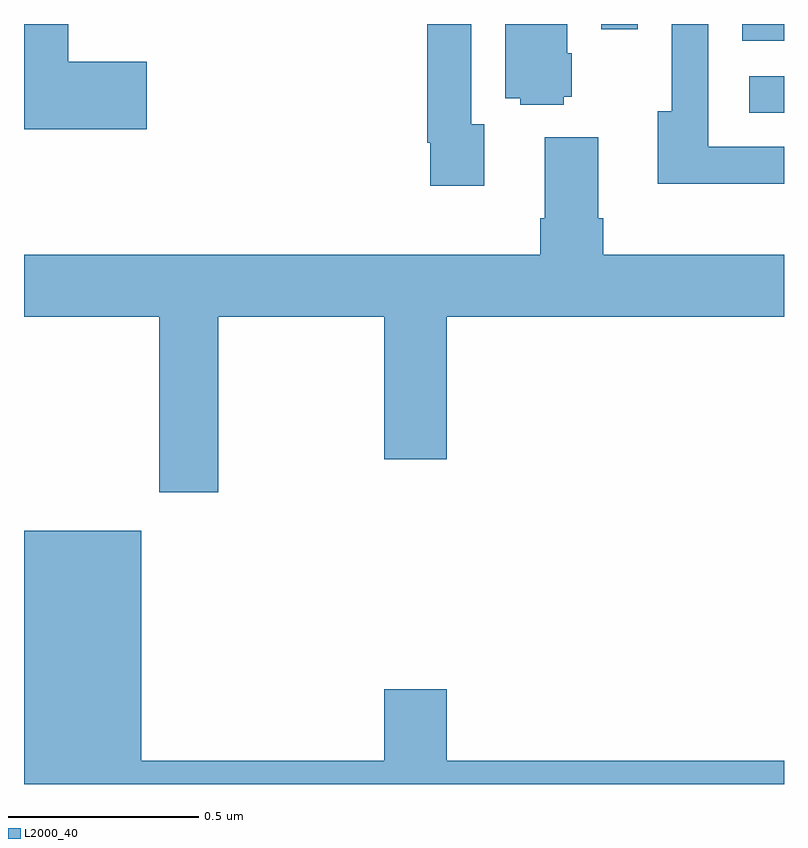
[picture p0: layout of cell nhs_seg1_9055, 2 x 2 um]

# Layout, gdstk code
import gdstk
lib = gdstk.Library(unit=1e-6, precision=1e-09)
def R(c, l, rs):  # rectangles x0, y0, x1, y1
    for r in rs: c.add(gdstk.rectangle(r[:2], r[2:], *l))
def P(c, l, *ps):  # polygons
    for p in ps: c.add(gdstk.Polygon(p, *l))
L2000_40 = (2000, 40)

nhs_seg1_9055 = lib.new_cell('nhs_seg1_9055')
R(nhs_seg1_9055, L2000_40, [(225.909,522.966,226,523.062), (225.89,523.155,226,523.199), (225.519,523.185,225.615,523.199)])
P(nhs_seg1_9055, L2000_40, [(224.323,523.1),(224.117,523.1),(224.117,523.199),(224,523.199),(224,522.922),(224.323,522.922)],
  [(225.211,522.935),(225.177,522.935),(225.177,523.199),(225.061,523.199),(225.061,522.886),(225.069,522.886),(225.069,522.774),(225.211,522.774)],
  [(226,522.876),(225.801,522.876),(225.801,523.199),(225.705,523.199),(225.705,522.97),(225.668,522.97),(225.668,522.779),(226,522.779)],
  [(225.42,523.008),(225.442,523.008),(225.442,523.122),(225.43,523.122),(225.43,523.199),(225.266,523.199),(225.266,523.004),(225.306,523.004),(225.306,522.986),(225.42,522.986)],
  [(224.511,522.428),(224.948,522.428),(224.948,522.054),(225.112,522.054),(225.112,522.428),(226,522.428),(226,522.592),(225.524,522.592),(225.524,522.688),(225.511,522.688),(225.511,522.901),(225.371,522.901),(225.371,522.688),(225.359,522.688),(225.359,522.592),(224,522.592),(224,522.428),(224.356,522.428),(224.356,521.967),(224.511,521.967)],
  [(226,521.26),(225.112,521.26),(225.112,521.449),(224.948,521.449),(224.948,521.26),(224.308,521.26),(224.308,521.866),(224,521.866),(224,521.199),(226,521.199)])

lib.write_gds('nhs_seg1_9055.gds')
